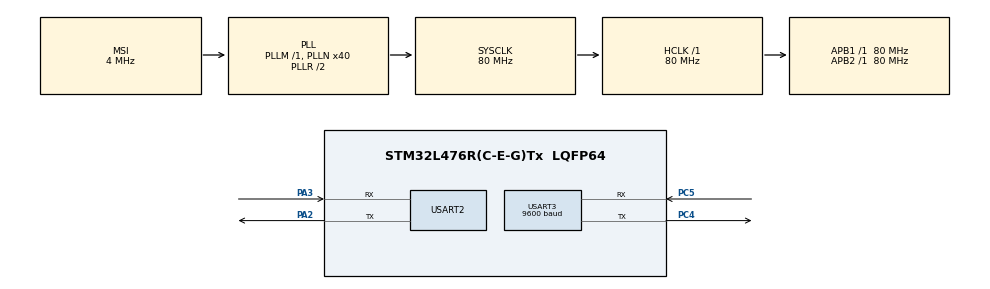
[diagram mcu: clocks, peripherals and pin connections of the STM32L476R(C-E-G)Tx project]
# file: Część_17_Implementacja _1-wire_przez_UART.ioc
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Mcu.Family=STM32L4
Mcu.Name=STM32L476R(C-E-G)Tx
Mcu.Package=LQFP64
NVIC.PriorityGroup=NVIC_PRIORITYGROUP_4
PA2.Mode=Asynchronous
PA2.Signal=USART2_TX
PA3.Mode=Asynchronous
PA3.Signal=USART2_RX
PC4.GPIO_ModeDefaultPP=GPIO_MODE_AF_OD
PC4.Mode=Asynchronous
PC4.Signal=USART3_TX
PC5.Mode=Asynchronous
PC5.Signal=USART3_RX
ProjectManager.HeapSize=0x200
ProjectManager.StackSize=0x400
ProjectManager.TargetToolchain=STM32CubeIDE
RCC.AHBFreq_Value=80000000
RCC.APB1Freq_Value=80000000
RCC.APB1TimFreq_Value=80000000
RCC.APB2Freq_Value=80000000
RCC.APB2TimFreq_Value=80000000
RCC.CortexFreq_Value=80000000
RCC.HCLKFreq_Value=80000000
RCC.HSE_VALUE=8000000
RCC.HSI_VALUE=16000000
RCC.LSE_VALUE=32768
RCC.MSI_VALUE=4000000
RCC.PLLN=40
RCC.SYSCLKFreq_VALUE=80000000
RCC.SYSCLKSource=RCC_SYSCLKSOURCE_PLLCLK
RCC.VCOOutputFreq_Value=160000000
TIM6.Prescaler=79
USART2.VirtualMode-Asynchronous=VM_ASYNC
USART3.BaudRate=9600
USART3.OverrunDisableParam=ADVFEATURE_OVERRUN_DISABLE
USART3.VirtualMode-Asynchronous=VM_ASYNC
VP_TIM6_VS_ClockSourceINT.Mode=Enable_Timer
board=custom

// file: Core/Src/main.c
/* USER CODE BEGIN Header */
/**
  ******************************************************************************
  * @file           : main.c
  * @brief          : Main program body
  ******************************************************************************
  * @attention
  *
  * Copyright (c) 2026 STMicroelectronics.
  * All rights reserved.
  *
  * This software is licensed under terms that can be found in the LICENSE file
  * in the root directory of this software component.
  * If no LICENSE file comes with this software, it is provided AS-IS.
  *
  ******************************************************************************
  */
/* USER CODE END Header */
#include "main.h"
#include "tim.h"
#include "usart.h"
#include "gpio.h"

/* USER CODE BEGIN Includes */
#include <stdio.h>
#include "ds18b20.h"
/* USER CODE END Includes */

void SystemClock_Config(void);

/* USER CODE BEGIN 0 */
int __io_putchar(int ch)
{
  if (ch == '\n') {
    __io_putchar('\r');
  }
  HAL_UART_Transmit(&huart2, (uint8_t*)&ch, 1, HAL_MAX_DELAY);
  return 1;
}
/* USER CODE END 0 */

int main(void)
{

  /* MCU Configuration--------------------------------------------------------*/

  /* Reset of all peripherals, Initializes the Flash interface and the Systick. */
  HAL_Init();

  /* Configure the system clock */
  SystemClock_Config();

  /* Initialize all configured peripherals */
  MX_GPIO_Init();
  MX_USART2_UART_Init();
  MX_TIM6_Init();
  MX_USART3_UART_Init();
  /* USER CODE BEGIN 2 */
  if (ds18b20_init() != HAL_OK) {
    Error_Handler();
  }
  const uint8_t ds1[] = { 0x28, 0xaf, 0xe2, 0x11, 0x0, 0x0, 0x0, 0x88};
  const uint8_t ds2[] = { 0x28, 0x24, 0x63, 0x10, 0x0, 0x0, 0x0, 0x13 };
  /* USER CODE END 2 */

  /* Infinite loop */
  /* USER CODE BEGIN WHILE */
  while (1)
  {
	  ds18b20_start_measure(ds1);
	    ds18b20_start_measure(ds2);
	    HAL_Delay(750);
	    float temp = ds18b20_get_temp(ds1);
	    if (temp <= -80.0f)
	      printf("Sensor error (1)...\n");
	    else
	      printf("T1 = %.1f*C\n", temp);
	    temp = ds18b20_get_temp(ds2);
	    if (temp <= -80.0f)
	      printf("Sensor error (2)...\n");
	    else
	      printf("T2 = %.1f*C\n", temp);
    /* USER CODE END WHILE */

  }
}

void SystemClock_Config(void)
{
  RCC_OscInitTypeDef RCC_OscInitStruct = {0};
  RCC_ClkInitTypeDef RCC_ClkInitStruct = {0};

  /** Configure the main internal regulator output voltage
  */
  if (HAL_PWREx_ControlVoltageScaling(PWR_REGULATOR_VOLTAGE_SCALE1) != HAL_OK)
  {
    Error_Handler();
  }

  /** Initializes the RCC Oscillators according to the specified parameters
  * in the RCC_OscInitTypeDef structure.
  */
  RCC_OscInitStruct.OscillatorType = RCC_OSCILLATORTYPE_MSI;
  RCC_OscInitStruct.MSIState = RCC_MSI_ON;
  RCC_OscInitStruct.MSICalibrationValue = 0;
  RCC_OscInitStruct.MSIClockRange = RCC_MSIRANGE_6;
  RCC_OscInitStruct.PLL.PLLState = RCC_PLL_ON;
  RCC_OscInitStruct.PLL.PLLSource = RCC_PLLSOURCE_MSI;
  RCC_OscInitStruct.PLL.PLLM = 1;
  RCC_OscInitStruct.PLL.PLLN = 40;
  RCC_OscInitStruct.PLL.PLLP = RCC_PLLP_DIV7;
  RCC_OscInitStruct.PLL.PLLQ = RCC_PLLQ_DIV2;
  RCC_OscInitStruct.PLL.PLLR = RCC_PLLR_DIV2;
  if (HAL_RCC_OscConfig(&RCC_OscInitStruct) != HAL_OK)
  {
    Error_Handler();
  }

  /** Initializes the CPU, AHB and APB buses clocks
  */
  RCC_ClkInitStruct.ClockType = RCC_CLOCKTYPE_HCLK|RCC_CLOCKTYPE_SYSCLK
                              |RCC_CLOCKTYPE_PCLK1|RCC_CLOCKTYPE_PCLK2;
  RCC_ClkInitStruct.SYSCLKSource = RCC_SYSCLKSOURCE_PLLCLK;
  RCC_ClkInitStruct.AHBCLKDivider = RCC_SYSCLK_DIV1;
  RCC_ClkInitStruct.APB1CLKDivider = RCC_HCLK_DIV1;
  RCC_ClkInitStruct.APB2CLKDivider = RCC_HCLK_DIV1;

  if (HAL_RCC_ClockConfig(&RCC_ClkInitStruct, FLASH_LATENCY_4) != HAL_OK)
  {
    Error_Handler();
  }
}

void Error_Handler(void)
{
  __disable_irq();
  while (1)
  {
  }
}
